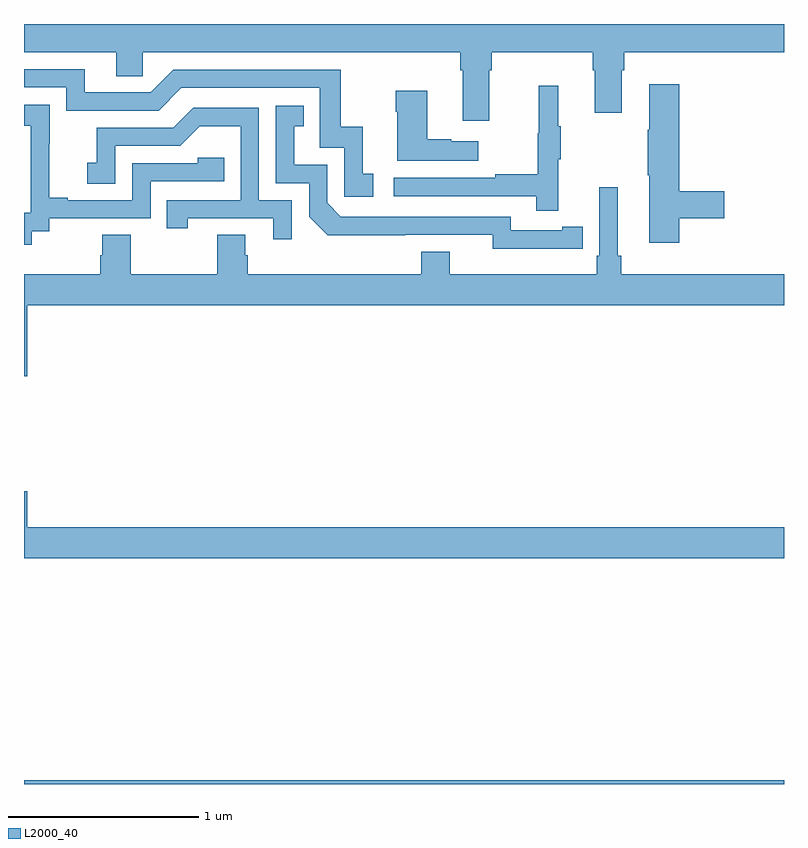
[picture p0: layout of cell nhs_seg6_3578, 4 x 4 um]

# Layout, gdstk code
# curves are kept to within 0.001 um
import gdstk
lib = gdstk.Library(unit=1e-6, precision=1e-09)
def R(c, l, rs):  # rectangles x0, y0, x1, y1
    for r in rs: c.add(gdstk.rectangle(r[:2], r[2:], *l))
def P(c, l, *ps):  # polygons
    for p in ps: c.add(gdstk.Polygon(p, *l))
L2000_40 = (2000, 40)

nhs_seg6_3578 = lib.new_cell('nhs_seg6_3578')
R(nhs_seg6_3578, L2000_40, [(321,927.5,325,927.52)])
P(nhs_seg6_3578, L2000_40, [(323.449,931.256),(323.462,931.256),(323.462,931.352),(323.993,931.352),(323.993,931.256),(324.005,931.256),(324.005,931.032),(324.145,931.032),(324.145,931.256),(324.158,931.256),(324.158,931.352),(325,931.352),(325,931.5),(321,931.5),(321,931.352),(321.485,931.352),(321.485,931.225),(321.624,931.225),(321.624,931.352),(323.297,931.352),(323.297,931.256),(323.309,931.256),(323.309,930.99),(323.449,930.99)],
  [(322.837,930.711),(322.784,930.711),(322.784,930.958),(322.666,930.958),(322.666,931.26),(321.786,931.26),(321.666,931.14),(321.319,931.14),(321.319,931.263),(321,931.263),(321,931.167),(321.222,931.167),(321.222,931.044),(321.708,931.044),(321.828,931.164),(322.557,931.164),(322.557,930.849),(322.686,930.849),(322.686,930.591),(322.837,930.591)],
  [(324.449,930.478),(324.685,930.478),(324.685,930.62),(324.449,930.62),(324.449,931.183),(324.29,931.183),(324.29,930.944),(324.283,930.944),(324.283,930.703),(324.29,930.703),(324.29,930.348),(324.449,930.348)],
  [(323.813,930.787),(323.824,930.787),(323.824,930.961),(323.813,930.961),(323.813,931.174),(323.71,931.174),(323.71,930.924),(323.703,930.924),(323.703,930.71),(323.479,930.71),(323.479,930.69),(322.947,930.69),(322.947,930.594),(323.695,930.594),(323.695,930.516),(323.813,930.516)],
  [(323.392,930.883),(323.249,930.883),(323.249,930.893),(323.122,930.893),(323.122,931.15),(322.957,931.15),(322.957,931.037),(322.964,931.037),(322.964,930.779),(323.392,930.779)],
  [(321.04,930.409),(321.132,930.409),(321.132,930.477),(321.666,930.477),(321.666,930.672),(322.055,930.672),(322.055,930.795),(321.915,930.795),(321.915,930.768),(321.57,930.768),(321.57,930.573),(321.229,930.573),(321.229,930.586),(321.134,930.586),(321.134,930.869),(321.135,930.869),(321.135,931.075),(321,931.075),(321,930.965),(321.035,930.965),(321.035,930.737),(321.036,930.737),(321.036,930.507),(321,930.507),(321,930.339),(321.04,930.339)],
  [(323.834,930.318),(323.942,930.318),(323.942,930.434),(323.834,930.434),(323.834,930.414),(323.562,930.414),(323.562,930.486),(322.668,930.486),(322.596,930.558),(322.596,930.759),(322.423,930.759),(322.423,930.963),(322.472,930.963),(322.472,931.069),(322.326,931.069),(322.326,930.663),(322.5,930.663),(322.5,930.486),(322.598,930.389),(323.466,930.39),(323.466,930.317)],
  [(322.41,930.573),(322.236,930.573),(322.236,931.059),(321.89,931.059),(321.785,930.954),(321.382,930.954),(321.382,930.769),(321.333,930.769),(321.333,930.66),(321.48,930.66),(321.48,930.858),(321.822,930.858),(321.926,930.962),(322.14,930.962),(322.14,930.573),(321.751,930.573),(321.751,930.426),(321.862,930.426),(321.862,930.477),(322.313,930.477),(322.313,930.366),(322.41,930.366)],
  [(321.016,930.02),(325,930.02),(325,930.184),(324.143,930.184),(324.143,930.28),(324.124,930.28),(324.124,930.64),(324.027,930.64),(324.027,930.28),(324.014,930.28),(324.014,930.184),(323.242,930.184),(323.242,930.301),(323.09,930.301),(323.09,930.184),(322.178,930.184),(322.178,930.282),(322.165,930.282),(322.165,930.392),(322.018,930.392),(322.018,930.184),(321.561,930.184),(321.561,930.392),(321.413,930.392),(321.413,930.282),(321.401,930.282),(321.401,930.184),(321,930.184),(321,929.646),(321.016,929.646)],
  [(325,928.852),(321.016,928.852),(321.016,929.041),(321,929.041),(321,928.688),(325,928.688)])

lib.write_gds('nhs_seg6_3578.gds')
